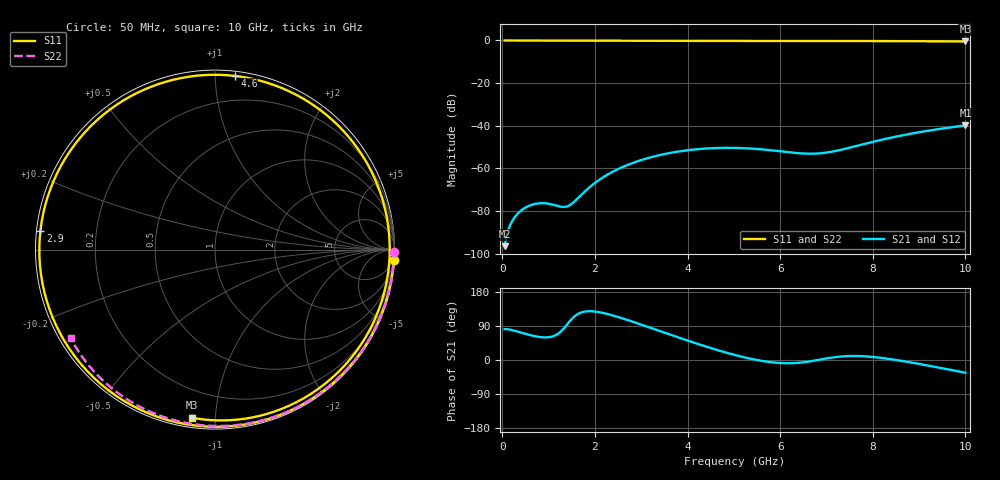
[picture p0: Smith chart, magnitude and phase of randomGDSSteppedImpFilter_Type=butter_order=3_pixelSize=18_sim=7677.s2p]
! freq	dB(S11)	phase(S11)	dB(S12)	phase(S12)
!  dB(S21)	phase(S21)	dB(S22)	phase(S22)
!S-par simulation data
#  GHz  S  DB  R 50
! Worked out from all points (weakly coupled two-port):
!   200 points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, 50 MHz to 10 GHz, reference 50 ohm
!   highest |S21| = -39.85 dB at 10 GHz (marker M1); lowest = -96.5 dB at 50 MHz (marker M2)
!   lowest |S11| = -0.5 dB at 10 GHz (marker M3), VSWR 35.74, Z = 2.46 - j43.5 ohm
!   |S11| at or under -10 dB: nowhere
!   |S22| runs from -0.5 to 0.0 dB; largest |S21 - S12| = 0
!   S11 on the Smith chart (normalised r, x): 50 MHz: 1, -33; 2.9 GHz: 0.01, +0.05; 4.6 GHz: 0.03, +1.12; 10 GHz: 0.05, -0.87
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0.05  -0.01 -3.4  -96.46 81.4  -96.46 81.4  -0.00 -0.9
0.45  -0.05 -31.6  -79.03 70.6  -79.03 70.6  -0.01 -7.7
0.7  -0.07 -49.0  -76.69 62.9  -76.69 62.9  -0.02 -11.9
0.95  -0.08 -66.0  -76.42 59.7  -76.42 59.7  -0.02 -16.2
1.4  -0.12 -95.7  -77.82 93.7  -77.82 93.7  -0.03 -23.7
1.75  -0.14 -117.9  -71.49 127.1  -71.49 127.1  -0.04 -29.5
2.05  -0.15 -136.4  -66.03 127.1  -66.03 127.1  -0.04 -34.5
2.35  -0.17 -154.4  -61.96 118.8  -61.96 118.8  -0.05 -39.4
2.6  -0.18 -169.0  -59.32 109.6  -59.32 109.6  -0.06 -43.4
2.9  -0.19 173.8  -56.80 97.5  -56.80 97.5  -0.06 -48.2
3.4  -0.21 145.9  -53.75 76.4  -53.75 76.4  -0.07 -56.1
4  -0.22 113.9  -51.49 51.3  -51.49 51.3  -0.09 -65.4
4.6  -0.23 83.6  -50.46 27.9  -50.46 27.9  -0.11 -74.4
5.05  -0.23 62.1  -50.39 12.4  -50.39 12.4  -0.12 -81.0
5.45  -0.23 44.1  -50.81 1.1  -50.81 1.1  -0.14 -86.8
5.85  -0.23 27.2  -51.60 -6.5  -51.60 -6.5  -0.16 -92.5
6.25  -0.23 11.3  -52.57 -8.4  -52.57 -8.4  -0.18 -98.1
6.7  -0.24 -5.3  -53.11 -2.4  -53.11 -2.4  -0.20 -104.3
7.55  -0.26 -33.4  -50.02 10.6  -50.02 10.6  -0.26 -115.9
8.35  -0.31 -56.5  -45.79 2.8  -45.79 2.8  -0.33 -126.5
9.15  -0.37 -77.3  -42.50 -13.7  -42.50 -13.7  -0.40 -137.1
10  -0.49 -97.9  -39.85 -33.6  -39.85 -33.6  -0.50 -148.4
